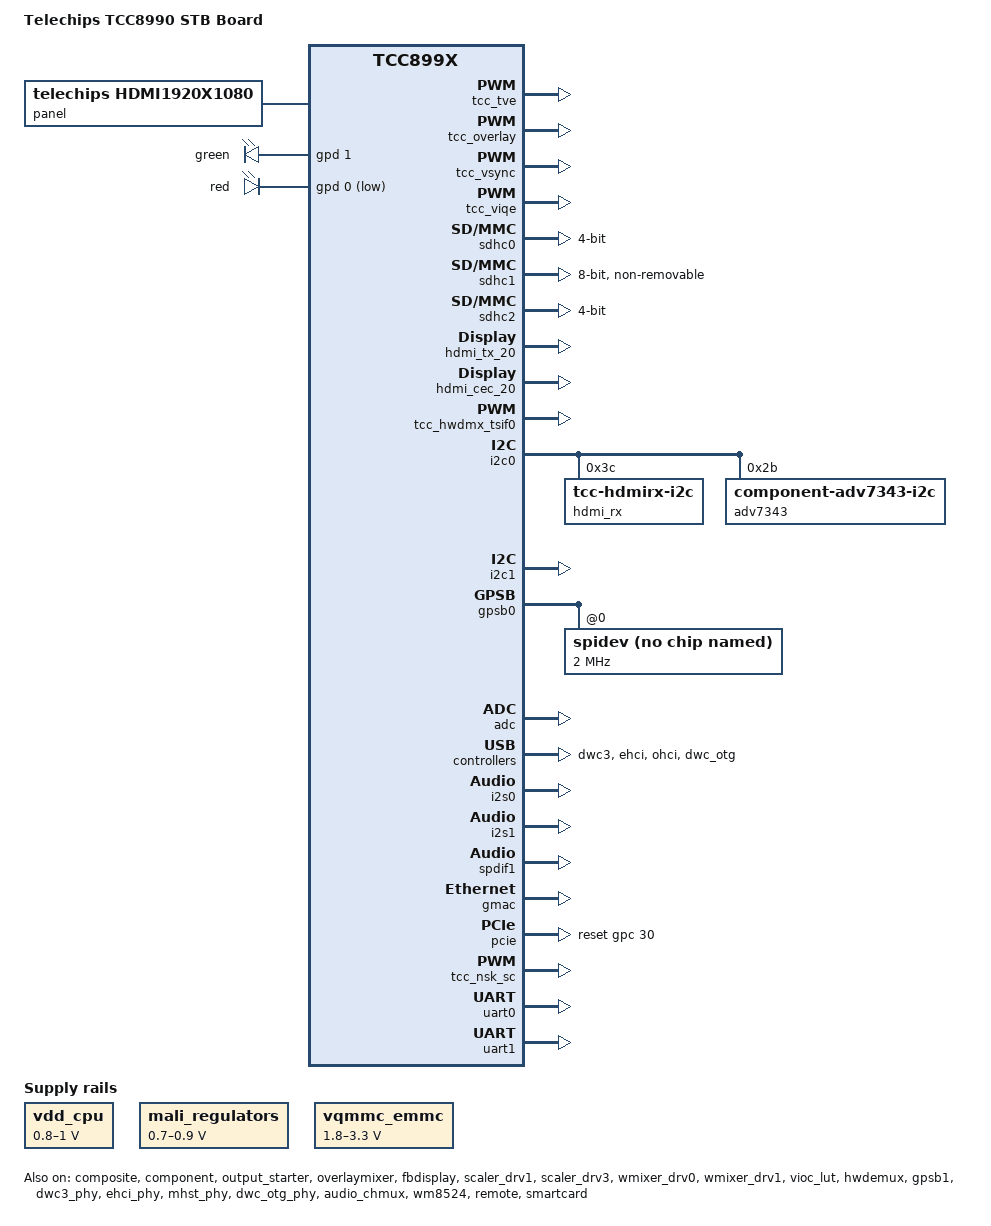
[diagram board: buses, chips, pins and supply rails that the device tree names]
// SPDX-License-Identifier: (GPL-2.0+ OR MIT)
/*
 * Device tree for Telechips TCC8990 STB board
 *
 * Copyright (C) 2018 Telechips Inc.
 */

#include "tcc899x-android.dtsi"

/ {
	model = "Telechips TCC8990 STB Board";
	compatible = "telechips,tcc8990", "telechips,tcc899x";
};

&chosen {
};

&vdd_cpu {
	compatible = "regulator-gpio";

	regulator-name = "vdd_cpu0";
	regulator-min-microvolt = < 800000>;
	regulator-max-microvolt = <1000000>;
	regulator-type = "voltage";
	regulator-always-on;

	gpios = <&gpd 25 0x4
		 &gpd 24 0x4>;
	gpios-states = <0 1>;

	states = < 800000 0x0
		800000 0x1
		900000 0x2
		1000000 0x3
	>;

	startup-delay-us = <100000>;
	enable-active-high;
};

&mali_regulators {
	compatible = "regulator-gpio";

	regulator-name = "vdd_mali";
        regulator-min-microvolt = <700000>;
        regulator-max-microvolt = <900000>;
	regulator-type = "voltage";
	regulator-always-on;

	gpios = <&gpd 27 0x4
		&gpd 26 0x4>;
	gpios-states = <1 0>;

        states = < 700000 0x1
                800000 0x2
                900000 0x3
                >;

        startup-delay-us = <100000>;
        enable-active-high;
};

&gpu {
        operating-points-v2 = <&gpu_opp_table>;
};

&gpu_opp_table {
    opp@444000000 {
	opp-hz = /bits/ 64 <444000000>;
	opp-microvolt = <700000>;
	opp-core-mask = /bits/ 64 <0x3>;
    };
    opp@592000000 {
        opp-hz = /bits/ 64 <592000000>;
        opp-microvolt = <800000>;
        opp-core-mask = /bits/ 64 <0x3>;
    };
    opp@666000000 {
        opp-hz = /bits/ 64 <666000000>;
        opp-microvolt = <900000>;
        opp-core-mask = /bits/ 64 <0x3>;
    };
};

&tcc_pm {
        wakeup,powerkey = <PMU_WKUP_GP_D20 WAKEUP_ACT_LO>;
        //gpio-powers = <&gpd 31 0>;              /* SLP_PWRCTL */
};

&panel {
	status = "okay";
	compatible = "telechips,hdmi1920x1080";
};

&tcc_tve {
	status = "okay";
};

&composite {
	status = "okay";
};

&component {
	status = "okay";
	io_port_num = <1>;	/* TCC899x: LCDC interface 1 (L1_XXX) */
};

&output_starter {
	status = "okay";
};

&overlaymixer {
	status ="okay";
	contiguousSize = <0x1000000>;  /* 16MB (if > 512MB RAM) refer to Guide 27 Page */
	baseAddress = <0x20000000>;
	physSize = <0x80000000>; /*  DRAM size (0x40000000 = 1GB, 0x80000000 = 2GB) */
};

&fbdisplay {
	telechips,fbdisplay_num = <0>;
	status ="okay";
};

&tcc_overlay {
	compatible = "telechips,tcc_overlay";
	status = "okay";
	fbdisplay-overlay = <&fbdisplay>;
};

&tcc_vsync {
	compatible = "telechips,tcc_vsync";
	display-vioc0 = <&vioc_disp VIOC_DISP0>;
	display-vioc1 = <&vioc_disp VIOC_DISP1>;
	status = "okay";
};
&tcc_viqe {
	compatible = "telechips,tcc_viqe";
	status ="okay";
	tcc_viqe_viqe_common {
		board_num=<1>;
	};
};

&scaler_drv1 {
	rdmas = <&vioc_rdma VIOC_RDMA16>;
	scalers = <&vioc_scaler VIOC_SCALER1 VIOC_SC_RDMA_16>;	/* id:1, path:17 */
	wmixs = <&vioc_wmix VIOC_WMIX5>;	/* id:5, path:6 */
	wdmas = <&vioc_wdma VIOC_WDMA06>;
	settop_support = <1>;
	status = "okay";
};

&scaler_drv3 {
	rdmas = <&vioc_rdma VIOC_RDMA07>;
	scalers = <&vioc_scaler VIOC_SCALER3 VIOC_SC_RDMA_07>;	/* id:3, path:7 */
	wmixs = <&vioc_wmix VIOC_WMIX1>;	/* id:1, path:3 */
	wdmas = <&vioc_wdma VIOC_WDMA01>;
	settop_support = <1>;
	status = "okay";
};

&wmixer_drv0 {
	status = "okay";
};

&wmixer_drv1 {
	status = "okay";
};
&vioc_lut {
	status = "okay";
};

/* SDIO */
&sdhc0 {
	status = "okay";
	controller-id = <0>;
	bus-width = <4>;
	max-frequency = <200000000>;
	pinctrl-names = "default";
	pinctrl-0 = <&sd0_2_clk &sd0_2_cmd &sd0_2_bus4>;
};

/* eMMC */
&vqmmc_emmc {
	compatible = "regulator-gpio";

	regulator-name = "vqmmc_emmc";
	regulator-type = "voltage";
	regulator-min-microvolt = <1800000>;
	regulator-max-microvolt = <3300000>;
	regulator-ramp-delay = <10>;
	regulator-always-on;

	gpios = <&gpa 5 0x4>;
	gpios-states = <0>;
	states = < 1800000 0x0
		3300000 0x1
	>;
};

&sdhc1 {
	status = "okay";
	compatible = "telechips,tcc-sdhci";
	controller-id = <1>;
	pinctrl-names = "default";
	pinctrl-0 = <&sd1_1_clk &sd1_1_cmd &sd1_1_bus8>;

	bus-width = <8>;
	max-frequency = <200000000>;

	non-removable;
	keep-power-in-suspend;
	disable-wp;
	cap-mmc-hw-reset;
	mmc-ddr-1_8v;

	tcc-mmc-reset = <&gpa 6 0>;

	vqmmc-supply = <&vqmmc_emmc>;
};

/* SD Card */
&sdhc2 {
	status = "okay";
	compatible = "telechips,tcc-sdhci";
	controller-id = <2>;
	bus-width = <4>;
	max-frequency = <200000000>;
	pinctrl-names = "default";
	pinctrl-0 = <&sd2_1_clk &sd2_1_cmd &sd2_1_bus4>;
};

&hdmi_tx_20 {
	status = "okay";
	hdmi_ref_src_clock = <0>; // 0 XIN, 1 X-TAL, 2 PERI, 3, PMU XIN
	hdmi_phy_type = <0>; // 0 8990, 1 8995_OTT

	/* Source Product Description */
	product_description = "TCC8990_stb";
};

&hdmi_cec_20 {
	status = "okay";
};

&tcc_hwdmx_tsif0 {
	compatible = "telechips,tcc89xx-hwdmx-tsif";
	tsif-port = <1>;
	pinctrl-names = "idle", "active";

	/* Uncomment below two if parallel is used */
	pinctrl-0 = <&tsrx1_idle>;
	// pinctrl-0 = <&tsrx1_idle_parallel>;
	pinctrl-1 = <&tsrx1_active>;
	// pinctrl-1 = <&tsrx1_active_parallel>;

	status = "okay";
};

&tcc_hwdmx_tsif1 {
	compatible = "telechips,tcc89xx-hwdmx-tsif";
	tsif-port = <2>;
	pinctrl-names = "idle", "active";
	pinctrl-0 = <&tsrx2_idle>;
	pinctrl-1 = <&tsrx2_active>;
};

&tcc_dxb_ctrl {
	compatible = "telechips,tcc_dxb_ctrl";
	pw-gpios   = <&gpe 20 0>;
	dxb0-gpios = <&gpe 22 0>, <&gpe 21>, <&gpd 2 0>, <>;
	dxb1-gpios = <>, <>, <>, <>;
	ant-gpios  = <>, <>;
};

&si_power {
	compatible = "telechips,si_power";
	pw-gpios = <&gpd 4 0>;
	/*PD, RST, IRQ, SDO*/
	si0-gpios = <0>, <&gpe 12 0>, <0>, <0>;
	/*PD, RST, IRQ, SDO*/
	si1-gpios = <0>, <&gpe 28 0>, <0>, <0>;
};

&avl62x1_power {
	compatible = "availink,avl62x1";
	i2c-parent = <&i2c1>;
	i2c-lnb-ctrl = <&i2c1>;
	/* LNB_SLP, DVB_LOCK, DVB_RST LNB_SEL */
	gpios = <&gpa 18 0>, <&gpa 17 0>, <&gpe 12 0>, <&gpe 11 0>;
	config-idx = <0>;
	/* LNB_IRQ */
	int-gpios = <&gpd 2 0>;
};

&mxl532c_power {
        compatible = "maxlinear,mxl532c";
        i2c-parent = <&i2c1>;
        i2c-lnb-ctrl = <&i2c1>;
        /*             LNB_SLP,        DVB_LOCK,  DVB_RST      */
        gpios = <&gpa 18 0>, <&gpa 17 0>, <&gpe 12 0>;
        config-idx = <0>;
        /* LNB_IRQ */
        int-gpios = <&gpd 2 0>;
};

&tcc_isdbt_ctrl {
	compatible = "telechips,tcc_isdbt_ctrl";
};

/* I2C */

// Default set
&i2c0 {
	port-mux = <9>;
	status = "okay";
	pinctrl-names = "default";
	pinctrl-0 = <&i2c9_bus>;

	hdmi_rx@78 {
		compatible = "tcc-hdmirx-i2c";
		reg = <0x3C>;
	};

	adv7343@20 {
		compatible = "component-adv7343-i2c";
		reg = <0x2b>;	/* ALSB=1, Write=0x56, Read=0x57 */
	};
};

// DXB
&i2c1 {
	port-mux = <8>;
	status = "okay";
	pinctrl-names = "default";
	pinctrl-0 = <&i2c8_bus>;
};

/* TODO: Need to modify it
&hdmi_in {
	compatible = "telechips-hdmi-rx";
	status = "okay";
	pinctrl-names = "default";
	pinctrl-0 = <&hdin_clki &hdin_hsync &hdin_vsync &hdin_data &hdin_de>;
	clocks = <&clk_ddi DDIBUS_VIOC>;
	hdmi_rx_port = <&cifport 1 1>;
	hdmi_rx_wmixer = <&vioc_wmix VIOC_WMIX5>;
	hdmi_rx_wdma = <&vioc_wdma VIOC_WDMA05>;
	hdmi_rx_videoin = <&vioc_vin VIOC_VIN00>;
	hdmi_rx_lut = <&vioc_vin 4>;
	hdmi_rx_scaler = <&vioc_scaler VIOC_SCALER0>;
	hdmi_rx_viqe = <&vioc_viqe VIOC_VIQE0>;
	hdmi_rx_ddi_config = <&ddi_config>;
	hdmi_rx_dly_width=<1920>;
	hdmi_rx_dly_height=<1080>;
	hdmi_rx_clk_dly = <0x1F>;
	hdmi_rx_de_dly = <0x0>;
	hdmi_rx_field_dly = <0x0>;
	hdmi_rx_hsync_dly = <0x0>;
	hdmi_rx_vsync_dly = <0x0>;
	hdmi_rx_data00_dly = <0x7>;
	hdmi_rx_data01_dly = <0x7>;
	hdmi_rx_data02_dly = <0x7>;
	hdmi_rx_data03_dly = <0x7>;
	hdmi_rx_data04_dly = <0x7>;
	hdmi_rx_data05_dly = <0x7>;
	hdmi_rx_data06_dly = <0x7>;
	hdmi_rx_data07_dly = <0x7>;
	hdmi_rx_data08_dly = <0x7>;
	hdmi_rx_data09_dly = <0x7>;
	hdmi_rx_data10_dly = <0x7>;
	hdmi_rx_data11_dly = <0x7>;
	hdmi_rx_data12_dly = <0x7>;
	hdmi_rx_data13_dly = <0x7>;
	hdmi_rx_data14_dly = <0x7>;
	hdmi_rx_data15_dly = <0x7>;
	hdmi_rx_data16_dly = <0x7>;
	hdmi_rx_data17_dly = <0x7>;
	hdmi_rx_data18_dly = <0x7>;
	hdmi_rx_data19_dly = <0x7>;
	hdmi_rx_data20_dly = <0x7>;
	hdmi_rx_data21_dly = <0x7>;
	hdmi_rx_data22_dly = <0x7>;
	hdmi_rx_data23_dly = <0x7>;
	hdmi_rx_data24_dly = <0x7>;
	hdmi_rx_data25_dly = <0x7>;
	hdmi_rx_data26_dly = <0x7>;
	hdmi_rx_data27_dly = <0x7>;
	hdmi_rx_data28_dly = <0x7>;
	hdmi_rx_data29_dly = <0x7>;

	ep9553t{
		rst-gpios = <&gpg 4 0>;
		pwr-gpios = <&gpb 30 0>;
		key-gpios = <&gpg 15 0>;
		int-gpios = <&gpg 13 1>;
		polarity_hsync = <1>;
		polarity_vsync = <1>;
		field_bfield_low = <0>;
		polarity_data_en = <0>;
		gen_field_en = <1>;
		polarity_pclk = <0>;
		conv_en = <0>;
		hsde_connect_en = <0>;
		vs_mask = <0>;
		input_fmt = <0>;
		data_order = <5>;
		intpl_en = <0>;
		wdma_swap_order = <1>;
	};
};
*/
/* H/W Demux */
&hwdemux {
	compatible = "telechips,hwdemux";
	status = "okay";
};

/* GPSB */
&gpsb0 {
	status = "okay";
	gpsb-port = <3>;
	pinctrl-names = "idle", "active";
	pinctrl-0 = <&gpsb3_bus_idle>;
	pinctrl-1 = <&gpsb3_bus_spi>;

	#address-cells = <1>;
	#size-cells = <0>;
	spidev@0 {
		compatible = "rohm,dh2228fv";
		reg = <0>;
		spi-max-frequency = <2000000>;
	};
};

&gpsb1 {
	status = "okay";
	gpsb-port = <5>;
	pinctrl-names = "idle", "active";
	pinctrl-0 = <&gpsb5_bus_idle>;
	pinctrl-1 = <&gpsb5_bus_tsif>;
};

/*
&gpsb2 {
	status = "okay";
	gpsb-port = <4>;
	pinctrl-names = "idle", "active";
	pinctrl-0 = <&gpsb4_bus_idle>;
	pinctrl-1 = <&gpsb4_bus_tsif>;
};
*/

/* TODO : Need to decide port for each gpsb channel
&gpsb3 {
	status = "okay";
	gpsb-port = <4>;
	pinctrl-names = "default";
	pinctrl-0 = <&gpsb5_bus>;
};

&gpsb4 {
	status = "okay";
	gpsb-port = <?>;
	pinctrl-names = "default";
	pinctrl-0 = <&gpsb5_bus>;
};
*/

/* ADC */
&adc {
	status = "okay";
};

/* USB 3.0 DRD */
&dwc3_phy {
	status = "okay";
	vbus-ctrl-able;
	vbus-gpio = <&gpd 19 0>;
};
&dwc3 {
	status = "okay";
	//usb3en-ctrl-able;
	//usb3en-gpio = <&gpc 22 0>;
	//vbus-source-ctrl;
	vbus-ctrl-able;
	vbus-gpio = <&gpd 19 0>;
	//pinctrl-names = "default";
	//vdd_dwc-supply = <&vdd_v5p0_reg>;
};

/* USB 2.0 HOST */
&ehci_phy {
	status = "okay";
	vbus-ctrl-able;
	vbus-gpio = <&gpd 15 0>;
};

&mhst_phy {
	status = "okay";
	vbus-ctrl-able;
	vbus-gpio = <&gpd 18 0>;
};

&dwc_otg_phy {
	status = "okay";
	vbus-ctrl-able;
	vbus-gpio = <&gpd 18 0>;
};

&ehci {
	status = "okay";
	hcd_id = <0>;
	phy-type = <1>;	    //pico phy = 1, nano phy = 0
	//hosten-ctrl-able;
	//hosten-gpio = <&gpe 15 0>;
	vbus-ctrl-able;
	vbus-gpio = <&gpd 15 0>;
	//vbus-source-ctrl;
	//pinctrl-names = "default";
	//vdd_ehci-supply = <&vdd_v5p0_reg>;

	//sq_level_ctl;
	TXVRT = <0xB>;
	TXRISET = <0x3>;
	TXAT = <0x1>;
};

&ohci {
	status = "okay";
	//hosten-ctrl-able;
	//hosten-gpio = <&gpe 15 0>;
	vbus-ctrl-able;
	vbus-gpio = <&gpd 15 0>;
	//vbus-source-ctrl;
	//vdd_ohci-supply = <&vdd_v5p0_reg>;
};

/* USB 2.0 OTG */
&dwc_otg {
	status = "okay";
	phy-type = <1>;     //pico phy = 1, nano phy = 0

	vbus-ctrl-able;
	vbus-gpio = <&gpd 18 0>;
};

&audio_chmux {
	compatible = "telechips,audio-chmux-899x";
	dai = <0 1>; // i2s0(x) i2s1(x)
	cdif = <99 99>; // cdif0(x) cdif1(x)
	spdif = <99 1>; // spdif0(x) spdif1(x)
	status = "okay";
};

&i2s0 {
	status = "okay";
};

&i2s1 {
	pinctrl-names = "default", "idle";
	pinctrl-0 = <&m1dai1_clks &m1dai1_dao0>;
	pinctrl-1 = <&m1dai1_clks_idle &m1dai1_dao0_idle>;
	status = "okay";
};

&spdif0	{
	pinctrl-names = "default", "idle";
	pinctrl-0 = <&m0dai1_spdif_tx>;
	pinctrl-1 = <&m0dai1_spdif_tx_idle>;
	status = "disable";
};

&spdif1	{
	pinctrl-names = "default", "idle";
	pinctrl-0 = <&m1dai1_spdif_tx>;
	pinctrl-1 = <&m1dai1_spdif_tx_idle>;
	status = "okay";
};

&adma0 {
	status = "okay";
};

&adma1 {
	status = "okay";
};

&wm8524 {
	compatible = "wolfson,wm8524";
	status = "okay";

	/*codec_aif-gpios = <&gpd 6 0>;*/
	codec_mute_ang-gpios = <&gpg 19 0>;
	codec_mute_ctl-gpios = <&gpg 18 0>;
	/* value to enable mute*/
	codec_mute_ang-mute_value = <0>;
};

&sound {
	compatible = "telechips,snd-card";
	card-name = "TCC8990 STB Card";
	status = "okay";

	telechips,dai-link@0 {
		stream-name="I2S_1";

		codec,format = "i2s"; // i2s, left_j, right_j
		codec,continuous-clock;

		mclk_div = <4>; // 4,6,8,16
		bclk_ratio = <64>; // 32,48,64fs
		pcm = <&adma1>;
		dai = <&i2s1>;
		codec = <&wm8524>;
		codec,dai-name = "wm8524-hifi";
	};

	telechips,dai-link@1 {
		stream-name="I2S_0_HDMI_PATHTRU";

		codec,format = "i2s"; // i2s, left_j, right_j
		codec,continuous-clock;

		mclk_div = <4>; // 4,6,8,16
		bclk_ratio = <64>; // 32,48,64fs
		pcm = <&adma0>;
		dai = <&i2s0>;
	};

	telechips,dai-link@2 {
		stream-name="SPDIF_1_TX";

		pcm = <&adma1>;
		dai = <&spdif1>;
		playback-only;
	};
};

&remote {
	int-gpios = <&gpc 28 0>;
	pinctrl-names = "default";
	pinctrl-0 = <&remote_c28>;
	wakeupsrc = <011>; //RMISEL is 0x3 : GPIO_C28
	status = "okay";
};

&gmac {
	status = "okay";
	phyrst-gpio = <&gpc 9 0>;
	phy-interface = "rgmii";
	//ecid-mac-addr;
	txclk-o-dly = <0>;
	txclk-o-inv = <1>;
	txclk-o-dly_mpw2_sk = <31>;
	txclk-o-inv_mpw2_sk = <0>;
	txclk-o-dly_cs = <18>;
	txclk-o-inv_cs = <0>;
	txclk-o-dly_es = <18>;
	txclk-o-inv_es = <0>;
	txclk-i-dly = <0>;
	txclk-i-inv = <0>;
	txen-dly = <0>;
	txer-dly = <0>;
	txd0-dly = <0>;
	txd1-dly = <0>;
	txd2-dly = <0>;
	txd3-dly = <0>;
	txd4-dly = <0>;
	txd5-dly = <0>;
	txd6-dly = <0>;
	txd7-dly = <0>;
	rxclk-i-dly = <4>;
	rxclk-i-inv = <1>;
	rxclk-i-dly_mpw2_sk = <29>;
	rxclk-i-inv_mpw2_sk = <0>;
	rxclk-i-dly_cs = <18>;
	rxclk-i-inv_cs = <0>;
	rxclk-i-dly_es = <19>;
	rxclk-i-inv_es = <0>;
	rxdv-dly = <0>;
	rxer-dly = <0>;
	rxd0-dly = <0>;
	rxd1-dly = <0>;
	rxd2-dly = <0>;
	rxd3-dly = <0>;
	rxd4-dly = <0>;
	rxd5-dly = <0>;
	rxd6-dly = <0>;
	rxd7-dly = <0>;
	crs-dly = <0>;
	col-dly = <0>;
	pinctrl-names = "default", "mii", "rmii", "gmii", "rgmii";
	pinctrl-0 = <>;
	pinctrl-1 = <&gmac1_mdc &gmac1_mdio &gmac1_col &gmac1_crs &gmac1_txer &gmac1_rxer
		     &gmac1_txclk &gmac1_txen &gmac1_txd0 &gmac1_txd1 &gmac1_txd2 &gmac1_txd3
		     &gmac1_rxclk &gmac1_rxdv &gmac1_rxd0 &gmac1_rxd1 &gmac1_rxd2 &gmac1_rxd3>;
	pinctrl-2 = <&gmac1_mdc &gmac1_mdio
		     &gmac1_txclk &gmac1_txen &gmac1_txd0 &gmac1_txd1
		     &gmac1_rxer &gmac1_rxdv &gmac1_rxd0 &gmac1_rxd1>;
	pinctrl-3 = <&gmac1_mdc &gmac1_mdio &gmac1_col &gmac1_crs &gmac1_txer &gmac1_rxer
		     &gmac1_txclk &gmac1_txen &gmac1_txd0 &gmac1_txd1 &gmac1_txd2 &gmac1_txd3
		     &gmac1_txd4 &gmac1_txd5 &gmac1_txd6 &gmac1_txd7
		     &gmac1_rxclk &gmac1_rxdv &gmac1_rxd0 &gmac1_rxd1 &gmac1_rxd2 &gmac1_rxd3
		     &gmac1_rxd4 &gmac1_rxd5 &gmac1_rxd6 &gmac1_rxd7>;
	pinctrl-4 = <&gmac1_mdc &gmac1_mdio
		     &gmac1_txclk &gmac1_txen &gmac1_txd0 &gmac1_txd1 &gmac1_txd2 &gmac1_txd3
		     &gmac1_rxclk &gmac1_rxdv &gmac1_rxd0 &gmac1_rxd1 &gmac1_rxd2 &gmac1_rxd3>;
};

&pcie {
	reset-gpio = <&gpc 30 0>;
//	status = "okay";
};


&smartcard {
	compatible = "telechips,pl131-smartcard";
	reg = <0x16601000 0xFFF 0x16684000 0x10>;                //smartcard #6,
	clocks = <&clk_io IOBUS_SMARTCARD0>;
	clock-frequency = <50000000>;
	smartcard-clock = <4000000>;                             // initail value 4Mhz
	Fi = <372>;						 // clock rate conversion integer
	Di = <1>;						 // initail value

	uart_ch = <&uart0>;					 // uart and smartcard share clock
	uart_chnum = <0>;
	port-num = <2>;
	tda8024-use = <1>;
	rst_gpios =  <&gpd 22 0>;
	detect_gpios = <&gpe 31 0>;
	pwren_gpios = <&gpd 21 0>;
	pinctrl-names = "default";
	pinctrl-0 = <&smartcard0_bus>;
	status = "okay";
};

&thermal {
	compatible = "telechips,tcc-thermal";
	reg = <0x14700000 0x4 0x14700030 0x4 0x14200290 0x4 0x1420029C 0x4>;
	clocks = <&clk_isoip_top ISOIP_TOP_TSEN>;
	status = "okay";

	throttle_count = <5>;
	throttle_active_count = <0>;
	throttle_passive_count = <5>;

	cal_type = "TYPE_ONE_POINT_TRIMMING";
	polling-delay-idle = <0>;
	polling-delay-passive = <0>;

	throttle_table {
		throttle_tab_0 {
			temp = <75>;
			freq_max_cluster0 = <1000000>;
			freq_max_cluster1 = <900000>;
		};
		throttle_tab_1 {
			temp = <80>;
			freq_max_cluster0 = <900000>;
			freq_max_cluster1 = <810000>;
		};
		throttle_tab_2 {
			temp = <85>;
			freq_max_cluster0 = <800000>;
			freq_max_cluster1 = <720000>;
		};
		throttle_tab_3 {
			temp = <90>;
			freq_max_cluster0 = <700000>;
			freq_max_cluster1 = <630000>;
		};
		throttle_tab_4 {
			temp = <95>;
			freq_max_cluster0 = <600000>;
			freq_max_cluster1 = <540000>;
		};
	};
};

&gpio_leds {
	compatible = "gpio-leds";
	green {
		gpios = <&gpd 1 0>;
		default-state = "on";
	};
	red {
		gpios = <&gpd 0 1>;
		default-state = "on";
	};
};

&tcc_nsk_sc {
		compatible = "telechips,tcc-nsk-sc";
		reg = <0x16671000 0xFF>,
			<0x16684000 0x1F>,
			<0x16051000 0x70>,
			<0x16020200 0x2F>;
		/*interrupts = <GIC_SPI 70 IRQ_TYPE_LEVEL_HIGH>;*/
		/*interrupts = <GIC_SPI 95 IRQ_TYPE_LEVEL_HIGH>;*/
		interrupts = <GIC_SPI 88 IRQ_TYPE_LEVEL_HIGH>;
		clocks = <&clk_peri PERI_UART7>, <&clk_io IOBUS_UART7>;
		clock-names = "uartclk", "apb_pclk";
		/*clock-frequency = <50000000>;*/
		clock-frequency = <108000000>;

		iobus_dmareqsel_offset = <0x24>;
		iobus_dmareqsel_value = <0x40000000>;
		iobus_hrsten_offset = <0xc>;
		iobus_hrsten_value = <0x200>;

		dma_extreq_value = <0x40000000>;

		uart_chnum = <7>;
		uart_port = <2>;
		uart_datmux_use = <1>;

		tda8024_use = <1>;
                rst_gpios =  <&gpd 22 0>;
                detect_gpios = <&gpe 31 0>;
                pwren_gpios = <&gpd 21 0>;
		/*pwren_gpios = <&gpd 23 0>;*/
		vccsel_gpios = <&gpd 23 0>;
		clk_gpios = <&gpd 12 0>;
		data_c7_gpios = <&gpd 11 0>;
		data_c4_gpios = <&gpd 13 0>;
		data_c8_gpios = <&gpd 14 0>;
		pinctrl-names = "default", "gpio_C4", "gpio_C8", "gpio_C7", "gpio_C3";
		pinctrl-0 = <&nsk_sc_ctrl>;
		pinctrl-1 = <&nsk_sc_gpio_C4>;
		pinctrl-2 = <&nsk_sc_gpio_C8>;
		pinctrl-3 = <&nsk_sc_gpio_C7>;
		pinctrl-4 = <&nsk_sc_gpio_C3>;	
                status = "okay";
};



&uart0 {
	pinctrl-names = "default";
	pinctrl-0 = <&uart2_data>;
	status = "okay";
};

/* bluetooth */
&uart1 {
	pinctrl-names = "default";
	pinctrl-0 = <&uart1_data &uart1_rtscts>;
	dmas = <&udma1 2 2 &udma1 3 2>;
	dma-names = "tx", "rx";
	status = "okay";
};
